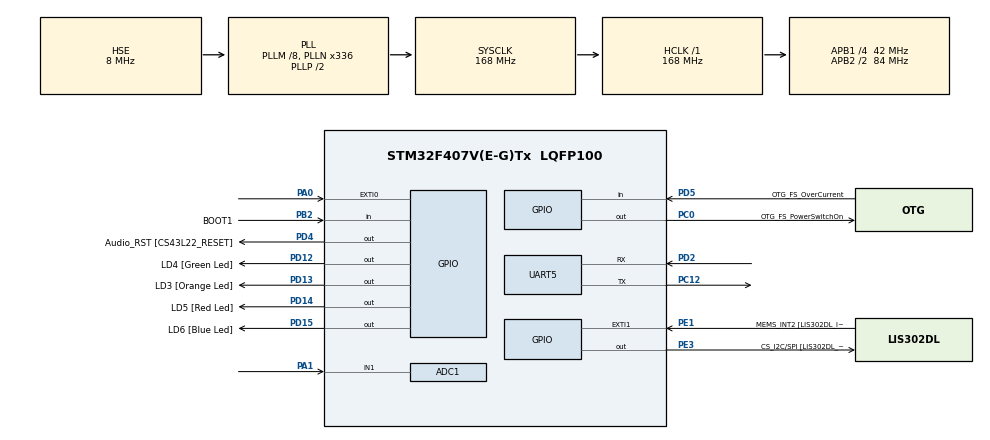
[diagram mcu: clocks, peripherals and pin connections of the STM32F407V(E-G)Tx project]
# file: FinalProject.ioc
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ADC1.Channel-0\#ChannelRegularConversion=ADC_CHANNEL_1
ADC1.ExternalTrigConv=ADC_EXTERNALTRIGCONV_T3_TRGO
ADC1.NbrOfConversionFlag=1
ADC1.Rank-0\#ChannelRegularConversion=1
ADC1.Resolution=ADC_RESOLUTION_8B
ADC1.SamplingTime-0\#ChannelRegularConversion=ADC_SAMPLETIME_3CYCLES
ADC1.master=1
Mcu.Family=STM32F4
Mcu.Name=STM32F407V(E-G)Tx
Mcu.Package=LQFP100
NVIC.ADC_IRQn=true\:0\:0\:false\:false\:true\:true
NVIC.EXTI0_IRQn=true\:0\:0\:false\:false\:true\:true
NVIC.PriorityGroup=NVIC_PRIORITYGROUP_0
NVIC.TIM2_IRQn=true\:0\:0\:false\:false\:true\:true
NVIC.UART5_IRQn=true\:0\:0\:false\:false\:true\:true
PA0-WKUP.Signal=GPXTI0
PA1.Signal=ADCx_IN1
PA10.GPIO_Label=OTG_FS_ID
PA10.GPIO_Mode=GPIO_MODE_AF_PP
PA10.GPIO_PuPd=GPIO_NOPULL
PA10.GPIO_Speed=GPIO_SPEED_FREQ_LOW
PA10.Signal=USB_OTG_FS_ID
PA11.GPIO_Label=OTG_FS_DM
PA11.GPIO_Mode=GPIO_MODE_AF_PP
PA11.GPIO_PuPd=GPIO_NOPULL
PA11.GPIO_Speed=GPIO_SPEED_FREQ_LOW
PA11.Signal=USB_OTG_FS_DM
PA12.GPIO_Label=OTG_FS_DP
PA12.GPIO_Mode=GPIO_MODE_AF_PP
PA12.GPIO_PuPd=GPIO_NOPULL
PA12.GPIO_Speed=GPIO_SPEED_FREQ_LOW
PA12.Signal=USB_OTG_FS_DP
PA13.GPIO_Label=SWDIO
PA13.Mode=Serial_Wire
PA13.Signal=SYS_JTMS-SWDIO
PA14.GPIO_Label=SWCLK
PA14.Mode=Serial_Wire
PA14.Signal=SYS_JTCK-SWCLK
PA4.GPIO_Label=I2S3_WS [CS43L22_LRCK]
PA4.GPIO_Mode=GPIO_MODE_AF_PP
PA4.GPIO_PuPd=GPIO_NOPULL
PA4.GPIO_Speed=GPIO_SPEED_FREQ_LOW
PA4.Signal=I2S3_WS
PA5.GPIO_Label=SPI1_SCK [LIS302DL_SCL/SPC]
PA5.GPIO_Mode=GPIO_MODE_AF_PP
PA5.GPIO_PuPd=GPIO_NOPULL
PA5.GPIO_Speed=GPIO_SPEED_FREQ_LOW
PA5.Signal=SPI1_SCK
PA6.GPIO_Label=SPI1_MISO [LIS302DL_SDO]
PA6.GPIO_Mode=GPIO_MODE_AF_PP
PA6.GPIO_PuPd=GPIO_NOPULL
PA6.GPIO_Speed=GPIO_SPEED_FREQ_LOW
PA6.Signal=SPI1_MISO
PA7.GPIO_Label=SPI1_MOSI [LIS302DL_SDA/SDI/SDO]
PA7.GPIO_Mode=GPIO_MODE_AF_PP
PA7.GPIO_PuPd=GPIO_NOPULL
PA7.GPIO_Speed=GPIO_SPEED_FREQ_LOW
PA7.Signal=SPI1_MOSI
PA9.GPIO_Label=VBUS_FS
PA9.GPIO_Mode=GPIO_MODE_INPUT
PA9.GPIO_PuPd=GPIO_NOPULL
PA9.Signal=USB_OTG_FS_VBUS
PB10.GPIO_Label=CLK_IN [MP45DT02_CLK]
PB10.GPIO_Mode=GPIO_MODE_AF_PP
PB10.GPIO_PuPd=GPIO_NOPULL
PB10.GPIO_Speed=GPIO_SPEED_FREQ_LOW
PB10.Signal=I2S2_CK
PB2.GPIO_Label=BOOT1
PB2.GPIO_Mode=GPIO_MODE_INPUT
PB2.GPIO_PuPd=GPIO_NOPULL
PB2.Signal=GPIO_Input
PB3.GPIO_Label=SWO
PB3.Signal=SYS_JTDO-SWO
PB6.GPIO_Label=Audio_SCL [CS43L22_SCL]
PB6.GPIO_Mode=GPIO_MODE_AF_OD
PB6.GPIO_PuPd=GPIO_NOPULL
PB6.GPIO_Speed=GPIO_SPEED_FREQ_LOW
PB6.Signal=I2C1_SCL
PB9.GPIO_Label=Audio_SDA [CS43L22_SDA]
PB9.GPIO_Mode=GPIO_MODE_AF_OD
PB9.GPIO_PuPd=GPIO_NOPULL
PB9.GPIO_Speed=GPIO_SPEED_FREQ_LOW
PB9.Signal=I2C1_SDA
PC0.GPIO_Label=OTG_FS_PowerSwitchOn
PC0.GPIO_PuPd=GPIO_NOPULL
PC0.GPIO_Speed=GPIO_SPEED_FREQ_LOW
PC0.PinState=GPIO_PIN_SET
PC0.Signal=GPIO_Output
PC10.GPIO_Label=I2S3_SCK [CS43L22_SCLK]
PC10.GPIO_Mode=GPIO_MODE_AF_PP
PC10.GPIO_PuPd=GPIO_NOPULL
PC10.GPIO_Speed=GPIO_SPEED_FREQ_LOW
PC10.Signal=I2S3_CK
PC12.Mode=Asynchronous
PC12.Signal=UART5_TX
PC14-OSC32_IN.GPIO_Label=PC14-OSC32_IN
PC14-OSC32_IN.Mode=LSE-External-Oscillator
PC14-OSC32_IN.Signal=RCC_OSC32_IN
PC15-OSC32_OUT.GPIO_Label=PC15-OSC32_OUT
PC15-OSC32_OUT.Mode=LSE-External-Oscillator
PC15-OSC32_OUT.Signal=RCC_OSC32_OUT
PC3.GPIO_Label=PDM_OUT [MP45DT02_DOUT]
PC3.GPIO_Mode=GPIO_MODE_AF_PP
PC3.GPIO_PuPd=GPIO_NOPULL
PC3.GPIO_Speed=GPIO_SPEED_FREQ_LOW
PC3.Signal=I2S2_SD
PC7.GPIO_Label=I2S3_MCK [CS43L22_MCLK]
PC7.GPIO_Mode=GPIO_MODE_AF_PP
PC7.GPIO_PuPd=GPIO_NOPULL
PC7.GPIO_Speed=GPIO_SPEED_FREQ_LOW
PC7.Signal=I2S3_MCK
PD12.GPIO_Label=LD4 [Green Led]
PD12.GPIO_PuPd=GPIO_NOPULL
PD12.GPIO_Speed=GPIO_SPEED_FREQ_LOW
PD12.Signal=GPIO_Output
PD13.GPIO_Label=LD3 [Orange Led]
PD13.GPIO_PuPd=GPIO_NOPULL
PD13.GPIO_Speed=GPIO_SPEED_FREQ_LOW
PD13.Signal=GPIO_Output
PD14.GPIO_Label=LD5 [Red Led]
PD14.GPIO_PuPd=GPIO_NOPULL
PD14.GPIO_Speed=GPIO_SPEED_FREQ_LOW
PD14.Signal=GPIO_Output
PD15.GPIO_Label=LD6 [Blue Led]
PD15.GPIO_PuPd=GPIO_NOPULL
PD15.GPIO_Speed=GPIO_SPEED_FREQ_LOW
PD15.Signal=GPIO_Output
PD2.Mode=Asynchronous
PD2.Signal=UART5_RX
PD4.GPIO_Label=Audio_RST [CS43L22_RESET]
PD4.GPIO_PuPd=GPIO_NOPULL
PD4.GPIO_Speed=GPIO_SPEED_FREQ_LOW
PD4.Signal=GPIO_Output
PD5.GPIO_Label=OTG_FS_OverCurrent
PD5.GPIO_Mode=GPIO_MODE_INPUT
PD5.GPIO_PuPd=GPIO_NOPULL
PD5.Signal=GPIO_Input
PE1.GPIO_Label=MEMS_INT2 [LIS302DL_INT2]
PE1.GPIO_ModeDefaultEXTI=GPIO_MODE_EVT_RISING
PE1.GPIO_PuPd=GPIO_NOPULL
PE1.Signal=GPXTI1
PE3.GPIO_Label=CS_I2C/SPI [LIS302DL_CS_I2C/SPI]
PE3.GPIO_PuPd=GPIO_NOPULL
PE3.GPIO_Speed=GPIO_SPEED_FREQ_LOW
PE3.Signal=GPIO_Output
PH0-OSC_IN.GPIO_Label=PH0-OSC_IN
PH0-OSC_IN.Mode=HSE-External-Oscillator
PH0-OSC_IN.Signal=RCC_OSC_IN
PH1-OSC_OUT.GPIO_Label=PH1-OSC_OUT
PH1-OSC_OUT.Mode=HSE-External-Oscillator
PH1-OSC_OUT.Signal=RCC_OSC_OUT
ProjectManager.HeapSize=0x200
ProjectManager.StackSize=0x400
ProjectManager.TargetToolchain=MDK-ARM V5
RCC.48MHZClocksFreq_Value=48000000
RCC.AHBFreq_Value=168000000
RCC.APB1CLKDivider=RCC_HCLK_DIV4
RCC.APB1Freq_Value=42000000
RCC.APB1TimFreq_Value=84000000
RCC.APB2CLKDivider=RCC_HCLK_DIV2
RCC.APB2Freq_Value=84000000
RCC.APB2TimFreq_Value=168000000
RCC.CortexFreq_Value=168000000
RCC.HCLKFreq_Value=168000000
RCC.HSE_VALUE=8000000
RCC.HSI_VALUE=16000000
RCC.PLLM=8
RCC.PLLN=336
RCC.PLLQ=7
RCC.PLLSourceVirtual=RCC_PLLSOURCE_HSE
RCC.SYSCLKFreq_VALUE=168000000
RCC.SYSCLKSource=RCC_SYSCLKSOURCE_PLLCLK
RCC.VCOOutputFreq_Value=336000000
SH.ADCx_IN1.0=ADC1_IN1,IN1
TIM2.Period=8499
TIM2.Prescaler=10
TIM2.TIM_MasterOutputTrigger=TIM_TRGO_UPDATE
TIM3.Period=10499
TIM3.TIM_MasterOutputTrigger=TIM_TRGO_UPDATE
UART5.VirtualMode=Asynchronous
VP_TIM2_VS_ClockSourceINT.Mode=Internal
VP_TIM3_VS_ClockSourceINT.Mode=Internal
board=STM32F4DISCOVERY

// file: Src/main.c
/**
  ******************************************************************************
  * @file           : main.c
  * @brief          : Main program body
  ******************************************************************************
  ** This notice applies to any and all portions of this file
  * that are not between comment pairs USER CODE BEGIN and
  * USER CODE END. Other portions of this file, whether
  * inserted by the user or by software development tools
  * are owned by their respective copyright owners.
  *
  * COPYRIGHT(c) 2018 STMicroelectronics
  *
  * Redistribution and use in source and binary forms, with or without modification,
  * are permitted provided that the following conditions are met:
  *   1. Redistributions of source code must retain the above copyright notice,
  *      this list of conditions and the following disclaimer.
  *   2. Redistributions in binary form must reproduce the above copyright notice,
  *      this list of conditions and the following disclaimer in the documentation
  *      and/or other materials provided with the distribution.
  *   3. Neither the name of STMicroelectronics nor the names of its contributors
  *      may be used to endorse or promote products derived from this software
  *      without specific prior written permission.
  *
  * THIS SOFTWARE IS PROVIDED BY THE COPYRIGHT HOLDERS AND CONTRIBUTORS "AS IS"
  * AND ANY EXPRESS OR IMPLIED WARRANTIES, INCLUDING, BUT NOT LIMITED TO, THE
  * IMPLIED WARRANTIES OF MERCHANTABILITY AND FITNESS FOR A PARTICULAR PURPOSE ARE
  * DISCLAIMED. IN NO EVENT SHALL THE COPYRIGHT HOLDER OR CONTRIBUTORS BE LIABLE
  * FOR ANY DIRECT, INDIRECT, INCIDENTAL, SPECIAL, EXEMPLARY, OR CONSEQUENTIAL
  * DAMAGES (INCLUDING, BUT NOT LIMITED TO, PROCUREMENT OF SUBSTITUTE GOODS OR
  * SERVICES; LOSS OF USE, DATA, OR PROFITS; OR BUSINESS INTERRUPTION) HOWEVER
  * CAUSED AND ON ANY THEORY OF LIABILITY, WHETHER IN CONTRACT, STRICT LIABILITY,
  * OR TORT (INCLUDING NEGLIGENCE OR OTHERWISE) ARISING IN ANY WAY OUT OF THE USE
  * OF THIS SOFTWARE, EVEN IF ADVISED OF THE POSSIBILITY OF SUCH DAMAGE.
  *
  ******************************************************************************
  */
#include "main.h"
#include "stm32f4xx_hal.h"

/* USER CODE BEGIN Includes */
#include "lis3dsh.h"
#include "math.h"

/* USER CODE END Includes */

ADC_HandleTypeDef hadc1;

TIM_HandleTypeDef htim2;
TIM_HandleTypeDef htim3;

UART_HandleTypeDef huart5;

/* USER CODE BEGIN PV */
/* Private variables ---------------------------------------------------------*/
LIS3DSH_InitTypeDef 		Acc_instance;
uint8_t status;
float Buffer[3];
float accX, accY, accZ;
uint8_t MyFlag = 0;

uint32_t adcConversion = 0;
int x[5] = {0};
float filterOutput;

int state = 0;
volatile int tapTimerDetect = 0;
volatile int tapTimerValidate = 0;
volatile int accelerometerTimer = 0;

int numberOfTaps = 0;
float initialData[3];
float previousData[3];
float newData[3];
float zDifference1, zDifference2;

const int accelerometerDataBufferSize = 1000;
uint8_t pitchDataBuffer[accelerometerDataBufferSize];
uint8_t rollDataBuffer[accelerometerDataBufferSize];

float pitch, roll;
int dataCollectionComplete = 0;
int recording = 0;
int recordingComplete = 0;
uint32_t tapDetectSnapshot;

const int audioDataBufferSize = 10000;
uint8_t audioDataBuffer[audioDataBufferSize];
/* USER CODE END PV */

void SystemClock_Config(void);
static void MX_GPIO_Init(void);
static void MX_ADC1_Init(void);
static void MX_TIM3_Init(void);
static void MX_UART5_Init(void);
static void MX_TIM2_Init(void);

/* USER CODE BEGIN PFP */
/* Private function prototypes -----------------------------------------------*/
void initializeACC			(void);

void FIR_C(uint32_t input, float* filterOutput);
float pitchCalculation(float* accelerometerData);
float rollCalculation(float* accelerometerData);
int tapDetection(float* newData, float* previousData);

/* USER CODE END PFP */

int main(void)
{

  /* MCU Configuration----------------------------------------------------------*/

  /* Reset of all peripherals, Initializes the Flash interface and the Systick. */
  HAL_Init();

  /* Configure the system clock */
  SystemClock_Config();

  /* Initialize all configured peripherals */
  MX_GPIO_Init();
  MX_ADC1_Init();
  MX_TIM3_Init();
  MX_UART5_Init();
  MX_TIM2_Init();
  /* USER CODE BEGIN 2 */
	initializeACC	();	// Like any other peripheral, you need to initialize it. Refer to the its driver to learn more.
	uint8_t header1[] = {0x0F};
	uint8_t header2[] = {0xF0};
	HAL_TIM_Base_Start(&htim3);
	HAL_TIM_Base_Start(&htim2);
	LIS3DSH_ReadACC(previousData);	//initial reading upon entry of program
  /* USER CODE END 2 */

  /* Infinite loop */
  /* USER CODE BEGIN WHILE */
  while (1){

		switch(state) {
				case 0:
					printf("in state 0\n");

						LIS3DSH_Read(&status, LIS3DSH_STATUS, 1);

						if ((status & 0x01) != 0x00)		//check to see if z-data has changed
						{
							LIS3DSH_ReadACC(newData);		//read new data

							if(tapDetection(newData, previousData)){ //going above first threshold

								tapDetectSnapshot = HAL_GetTick();
								*previousData = *newData;
								LIS3DSH_ReadACC(newData);

								if(tapDetection(newData, previousData)){	//going below second threshold

									if(HAL_GetTick() - tapDetectSnapshot > TAPTIME){
										numberOfTaps++;
										*previousData = *newData;
									}

								}
							}
						}

					if(tapTimerValidate >= TAP_VALIDATE_THRESH) {
						tapTimerValidate = 0;
						if(numberOfTaps >= 2) {
							printf("2 taps detected\n");
							state = 2;
							numberOfTaps = 0;
						}else if(numberOfTaps ==1) {
							printf("1 tap detected\n");
							state = 1;
							numberOfTaps = 0;
						}
					}

				case 1:
					printf("in state 1\n");
					HAL_ADC_Start_IT(&hadc1);
					recording = 1;
					//turn on green LED to indicate recording
					HAL_GPIO_WritePin(GPIOD, GPIO_PIN_12 ,GPIO_PIN_SET);
					HAL_GPIO_WritePin(GPIOD, GPIO_PIN_13 ,GPIO_PIN_RESET);
					HAL_GPIO_WritePin(GPIOD, GPIO_PIN_14 ,GPIO_PIN_RESET);
					HAL_GPIO_WritePin(GPIOD, GPIO_PIN_15 ,GPIO_PIN_RESET);

					if(recordingComplete) {
						recording = 0;

						//turn on red LED for transmission
						HAL_GPIO_WritePin(GPIOD, GPIO_PIN_13 ,GPIO_PIN_RESET);
						HAL_GPIO_WritePin(GPIOD, GPIO_PIN_14 ,GPIO_PIN_SET);

						HAL_UART_Transmit(&huart5,header1,sizeof(header1),1000);
						HAL_UART_Transmit(&huart5,audioDataBuffer,audioDataBufferSize,1000);

						recordingComplete = 0;
						state = 0;
					}

					if(HAL_GPIO_ReadPin(GPIOA, GPIO_PIN_0 ) == SET) {
						state = 0;
					}

				case 2:
					printf("in state 2\n");
					//turn on orange LED to indicate accelerometer data
					HAL_GPIO_WritePin(GPIOD, GPIO_PIN_12 ,GPIO_PIN_RESET);
					HAL_GPIO_WritePin(GPIOD, GPIO_PIN_13 ,GPIO_PIN_SET);
					HAL_GPIO_WritePin(GPIOD, GPIO_PIN_14 ,GPIO_PIN_RESET);
					HAL_GPIO_WritePin(GPIOD, GPIO_PIN_15 ,GPIO_PIN_RESET);

					for(int i = 0; i < accelerometerDataBufferSize;) {
						LIS3DSH_Read (&status, LIS3DSH_STATUS, 1);
						//The first four bits denote if we have new data on all XYZ axes,
						//Z axis only, Y axis only or Z axis only. If any or all changed, proceed
						if ((status & 0x0F) != 0x00)
						{
							// read ACC
							LIS3DSH_ReadACC(newData);

							pitch = pitchCalculation(newData);
							roll = rollCalculation(newData);
							// save to buffer
							uint8_t anglePitch = (uint8_t)(pitch+90); // maybe take out 90
							uint8_t angleRoll = (uint8_t)(roll+90);
							pitchDataBuffer[i] = anglePitch;
							rollDataBuffer[i] = angleRoll;
							//printf("pitch: %f, roll: %f \n", pitch, roll);
							//printf("pitch: %d, roll: %d \n", anglePitch, angleRoll);
							i++;
							if(i == accelerometerDataBufferSize-1) {
								dataCollectionComplete = 1;
							}
						}
					}

					if(dataCollectionComplete) {
						//turn on red LED for transmission
						printf("transmitting data\n");
						HAL_GPIO_WritePin(GPIOD, GPIO_PIN_13 ,GPIO_PIN_RESET);
						HAL_GPIO_WritePin(GPIOD, GPIO_PIN_14 ,GPIO_PIN_SET);

						HAL_UART_Transmit(&huart5,header1,sizeof(header1),1000);
						HAL_UART_Transmit(&huart5,pitchDataBuffer,accelerometerDataBufferSize,1000);

						HAL_UART_Transmit(&huart5,header2,sizeof(header2),1000);
						HAL_UART_Transmit(&huart5,rollDataBuffer,accelerometerDataBufferSize,1000);

						dataCollectionComplete = 0;
						state = 0;
					}
					if(HAL_GPIO_ReadPin(GPIOA, GPIO_PIN_0 ) == SET) {
						state = 0;
					}
			}

  /* USER CODE END WHILE */

		}

}

void SystemClock_Config(void)
{

  RCC_OscInitTypeDef RCC_OscInitStruct;
  RCC_ClkInitTypeDef RCC_ClkInitStruct;

    /**Configure the main internal regulator output voltage
    */
  __HAL_RCC_PWR_CLK_ENABLE();

  __HAL_PWR_VOLTAGESCALING_CONFIG(PWR_REGULATOR_VOLTAGE_SCALE1);

    /**Initializes the CPU, AHB and APB busses clocks
    */
  RCC_OscInitStruct.OscillatorType = RCC_OSCILLATORTYPE_HSE;
  RCC_OscInitStruct.HSEState = RCC_HSE_ON;
  RCC_OscInitStruct.PLL.PLLState = RCC_PLL_ON;
  RCC_OscInitStruct.PLL.PLLSource = RCC_PLLSOURCE_HSE;
  RCC_OscInitStruct.PLL.PLLM = 8;
  RCC_OscInitStruct.PLL.PLLN = 336;
  RCC_OscInitStruct.PLL.PLLP = RCC_PLLP_DIV2;
  RCC_OscInitStruct.PLL.PLLQ = 7;
  if (HAL_RCC_OscConfig(&RCC_OscInitStruct) != HAL_OK)
  {
    _Error_Handler(__FILE__, __LINE__);
  }

    /**Initializes the CPU, AHB and APB busses clocks
    */
  RCC_ClkInitStruct.ClockType = RCC_CLOCKTYPE_HCLK|RCC_CLOCKTYPE_SYSCLK
                              |RCC_CLOCKTYPE_PCLK1|RCC_CLOCKTYPE_PCLK2;
  RCC_ClkInitStruct.SYSCLKSource = RCC_SYSCLKSOURCE_PLLCLK;
  RCC_ClkInitStruct.AHBCLKDivider = RCC_SYSCLK_DIV1;
  RCC_ClkInitStruct.APB1CLKDivider = RCC_HCLK_DIV4;
  RCC_ClkInitStruct.APB2CLKDivider = RCC_HCLK_DIV2;

  if (HAL_RCC_ClockConfig(&RCC_ClkInitStruct, FLASH_LATENCY_5) != HAL_OK)
  {
    _Error_Handler(__FILE__, __LINE__);
  }

    /**Configure the Systick interrupt time
    */
  HAL_SYSTICK_Config(HAL_RCC_GetHCLKFreq()/1000);

    /**Configure the Systick
    */
  HAL_SYSTICK_CLKSourceConfig(SYSTICK_CLKSOURCE_HCLK);

  /* SysTick_IRQn interrupt configuration */
  HAL_NVIC_SetPriority(SysTick_IRQn, 1, 1);
}

/* ADC1 init function */
static void MX_ADC1_Init(void)
{

  ADC_ChannelConfTypeDef sConfig;

    /**Configure the global features of the ADC (Clock, Resolution, Data Alignment and number of conversion)
    */
  hadc1.Instance = ADC1;
  hadc1.Init.ClockPrescaler = ADC_CLOCK_SYNC_PCLK_DIV4;
  hadc1.Init.Resolution = ADC_RESOLUTION_8B;
  hadc1.Init.ScanConvMode = DISABLE;
  hadc1.Init.ContinuousConvMode = DISABLE;
  hadc1.Init.DiscontinuousConvMode = DISABLE;
  hadc1.Init.ExternalTrigConvEdge = ADC_EXTERNALTRIGCONVEDGE_RISING;
  hadc1.Init.ExternalTrigConv = ADC_EXTERNALTRIGCONV_T3_TRGO;
  hadc1.Init.DataAlign = ADC_DATAALIGN_RIGHT;
  hadc1.Init.NbrOfConversion = 1;
  hadc1.Init.DMAContinuousRequests = DISABLE;
  hadc1.Init.EOCSelection = ADC_EOC_SINGLE_CONV;
  if (HAL_ADC_Init(&hadc1) != HAL_OK)
  {
    _Error_Handler(__FILE__, __LINE__);
  }

    /**Configure for the selected ADC regular channel its corresponding rank in the sequencer and its sample time.
    */
  sConfig.Channel = ADC_CHANNEL_1;
  sConfig.Rank = 1;
  sConfig.SamplingTime = ADC_SAMPLETIME_3CYCLES;
  if (HAL_ADC_ConfigChannel(&hadc1, &sConfig) != HAL_OK)
  {
    _Error_Handler(__FILE__, __LINE__);
  }
}

/* TIM2 init function */
static void MX_TIM2_Init(void)
{
	HAL_NVIC_SetPriority(TIM2_IRQn, 0, 0);
  HAL_NVIC_EnableIRQ(TIM2_IRQn);

  TIM_ClockConfigTypeDef sClockSourceConfig;
  TIM_MasterConfigTypeDef sMasterConfig;

  htim2.Instance = TIM2;
  htim2.Init.Prescaler = 10;
  htim2.Init.CounterMode = TIM_COUNTERMODE_UP;
  htim2.Init.Period = 8499;
  htim2.Init.ClockDivision = TIM_CLOCKDIVISION_DIV1;
  if (HAL_TIM_Base_Init(&htim2) != HAL_OK)
  {
    _Error_Handler(__FILE__, __LINE__);
  }

  sClockSourceConfig.ClockSource = TIM_CLOCKSOURCE_INTERNAL;
  if (HAL_TIM_ConfigClockSource(&htim2, &sClockSourceConfig) != HAL_OK)
  {
    _Error_Handler(__FILE__, __LINE__);
  }

  sMasterConfig.MasterOutputTrigger = TIM_TRGO_UPDATE;
  sMasterConfig.MasterSlaveMode = TIM_MASTERSLAVEMODE_DISABLE;
  if (HAL_TIMEx_MasterConfigSynchronization(&htim2, &sMasterConfig) != HAL_OK)
  {
    _Error_Handler(__FILE__, __LINE__);
  }

	HAL_
}

/* TIM3 init function */
static void MX_TIM3_Init(void)
{

  TIM_ClockConfigTypeDef sClockSourceConfig;
  TIM_MasterConfigTypeDef sMasterConfig;

  htim3.Instance = TIM3;
  htim3.Init.Prescaler = 0;
  htim3.Init.CounterMode = TIM_COUNTERMODE_UP;
  htim3.Init.Period = 10499;
  htim3.Init.ClockDivision = TIM_CLOCKDIVISION_DIV1;
  if (HAL_TIM_Base_Init(&htim3) != HAL_OK)
  {
    _Error_Handler(__FILE__, __LINE__);
  }

  sClockSourceConfig.ClockSource = TIM_CLOCKSOURCE_INTERNAL;
  if (HAL_TIM_ConfigClockSource(&htim3, &sClockSourceConfig) != HAL_OK)
  {
    _Error_Handler(__FILE__, __LINE__);
  }

  sMasterConfig.MasterOutputTrigger = TIM_TRGO_UPDATE;
  sMasterConfig.MasterSlaveMode = TIM_MASTERSLAVEMODE_DISABLE;
  if (HAL_TIMEx_MasterConfigSynchronization(&htim3, &sMasterConfig) != HAL_OK)
  {
    _Error_Handler(__FILE__, __LINE__);
  }

}

/* UART5 init function */
static void MX_UART5_Init(void)
{

  huart5.Instance = UART5;
  huart5.Init.BaudRate = 115200;
  huart5.Init.WordLength = UART_WORDLENGTH_8B;
  huart5.Init.StopBits = UART_STOPBITS_1;
  huart5.Init.Parity = UART_PARITY_NONE;
  huart5.Init.Mode = UART_MODE_TX_RX;
  huart5.Init.HwFlowCtl = UART_HWCONTROL_NONE;
  huart5.Init.OverSampling = UART_OVERSAMPLING_16;
  if (HAL_UART_Init(&huart5) != HAL_OK)
  {
    _Error_Handler(__FILE__, __LINE__);
  }

}

/** Configure pins as
        * Analog
        * Input
        * Output
        * EVENT_OUT
        * EXTI
     PC3   ------> I2S2_SD
     PA4   ------> I2S3_WS
     PA5   ------> SPI1_SCK
     PA6   ------> SPI1_MISO
     PA7   ------> SPI1_MOSI
     PB10   ------> I2S2_CK
     PC7   ------> I2S3_MCK
     PA9   ------> USB_OTG_FS_VBUS
     PA10   ------> USB_OTG_FS_ID
     PA11   ------> USB_OTG_FS_DM
     PA12   ------> USB_OTG_FS_DP
     PC10   ------> I2S3_CK
     PB6   ------> I2C1_SCL
     PB9   ------> I2C1_SDA
*/
static void MX_GPIO_Init(void)
{

  GPIO_InitTypeDef GPIO_InitStruct;

  /* GPIO Ports Clock Enable */
  __HAL_RCC_GPIOE_CLK_ENABLE();
  __HAL_RCC_GPIOC_CLK_ENABLE();
  __HAL_RCC_GPIOH_CLK_ENABLE();
  __HAL_RCC_GPIOA_CLK_ENABLE();
  __HAL_RCC_GPIOB_CLK_ENABLE();
  __HAL_RCC_GPIOD_CLK_ENABLE();

  /*Configure GPIO pin Output Level */
  HAL_GPIO_WritePin(CS_I2C_SPI_GPIO_Port, CS_I2C_SPI_Pin, GPIO_PIN_RESET);

  /*Configure GPIO pin Output Level */
  HAL_GPIO_WritePin(OTG_FS_PowerSwitchOn_GPIO_Port, OTG_FS_PowerSwitchOn_Pin, GPIO_PIN_SET);

  /*Configure GPIO pin Output Level */
  HAL_GPIO_WritePin(GPIOD, LD4_Pin|LD3_Pin|LD5_Pin|LD6_Pin
                          |Audio_RST_Pin, GPIO_PIN_RESET);

  /*Configure GPIO pin : CS_I2C_SPI_Pin */
  GPIO_InitStruct.Pin = CS_I2C_SPI_Pin;
  GPIO_InitStruct.Mode = GPIO_MODE_OUTPUT_PP;
  GPIO_InitStruct.Pull = GPIO_NOPULL;
  GPIO_InitStruct.Speed = GPIO_SPEED_FREQ_LOW;
  HAL_GPIO_Init(CS_I2C_SPI_GPIO_Port, &GPIO_InitStruct);

  /*Configure GPIO pin : OTG_FS_PowerSwitchOn_Pin */
  GPIO_InitStruct.Pin = OTG_FS_PowerSwitchOn_Pin;
  GPIO_InitStruct.Mode = GPIO_MODE_OUTPUT_PP;
  GPIO_InitStruct.Pull = GPIO_NOPULL;
  GPIO_InitStruct.Speed = GPIO_SPEED_FREQ_LOW;
  HAL_GPIO_Init(OTG_FS_PowerSwitchOn_GPIO_Port, &GPIO_InitStruct);

  /*Configure GPIO pin : PDM_OUT_Pin */
  GPIO_InitStruct.Pin = PDM_OUT_Pin;
  GPIO_InitStruct.Mode = GPIO_MODE_AF_PP;
  GPIO_InitStruct.Pull = GPIO_NOPULL;
  GPIO_InitStruct.Speed = GPIO_SPEED_FREQ_LOW;
  GPIO_InitStruct.Alternate = GPIO_AF5_SPI2;
  HAL_GPIO_Init(PDM_OUT_GPIO_Port, &GPIO_InitStruct);

  /*Configure GPIO pin : PA0 */
  GPIO_InitStruct.Pin = GPIO_PIN_0;
  GPIO_InitStruct.Mode = GPIO_MODE_IT_RISING;
  GPIO_InitStruct.Pull = GPIO_NOPULL;
  HAL_GPIO_Init(GPIOA, &GPIO_InitStruct);

  /*Configure GPIO pin : I2S3_WS_Pin */
  GPIO_InitStruct.Pin = I2S3_WS_Pin;
  GPIO_InitStruct.Mode = GPIO_MODE_AF_PP;
  GPIO_InitStruct.Pull = GPIO_NOPULL;
  GPIO_InitStruct.Speed = GPIO_SPEED_FREQ_LOW;
  GPIO_InitStruct.Alternate = GPIO_AF6_SPI3;
  HAL_GPIO_Init(I2S3_WS_GPIO_Port, &GPIO_InitStruct);

  /*Configure GPIO pins : SPI1_SCK_Pin SPI1_MISO_Pin SPI1_MOSI_Pin */
  GPIO_InitStruct.Pin = SPI1_SCK_Pin|SPI1_MISO_Pin|SPI1_MOSI_Pin;
  GPIO_InitStruct.Mode = GPIO_MODE_AF_PP;
  GPIO_InitStruct.Pull = GPIO_NOPULL;
  GPIO_InitStruct.Speed = GPIO_SPEED_FREQ_LOW;
  GPIO_InitStruct.Alternate = GPIO_AF5_SPI1;
  HAL_GPIO_Init(GPIOA, &GPIO_InitStruct);

  /*Configure GPIO pin : BOOT1_Pin */
  GPIO_InitStruct.Pin = BOOT1_Pin;
  GPIO_InitStruct.Mode = GPIO_MODE_INPUT;
  GPIO_InitStruct.Pull = GPIO_NOPULL;
  HAL_GPIO_Init(BOOT1_GPIO_Port, &GPIO_InitStruct);

  /*Configure GPIO pin : CLK_IN_Pin */
  GPIO_InitStruct.Pin = CLK_IN_Pin;
  GPIO_InitStruct.Mode = GPIO_MODE_AF_PP;
  GPIO_InitStruct.Pull = GPIO_NOPULL;
  GPIO_InitStruct.Speed = GPIO_SPEED_FREQ_LOW;
  GPIO_InitStruct.Alternate = GPIO_AF5_SPI2;
  HAL_GPIO_Init(CLK_IN_GPIO_Port, &GPIO_InitStruct);

  /*Configure GPIO pins : LD4_Pin LD3_Pin LD5_Pin LD6_Pin
                           Audio_RST_Pin */
  GPIO_InitStruct.Pin = LD4_Pin|LD3_Pin|LD5_Pin|LD6_Pin
                          |Audio_RST_Pin;
  GPIO_InitStruct.Mode = GPIO_MODE_OUTPUT_PP;
  GPIO_InitStruct.Pull = GPIO_NOPULL;
  GPIO_InitStruct.Speed = GPIO_SPEED_FREQ_LOW;
  HAL_GPIO_Init(GPIOD, &GPIO_InitStruct);

  /*Configure GPIO pins : I2S3_MCK_Pin I2S3_SCK_Pin */
  GPIO_InitStruct.Pin = I2S3_MCK_Pin|I2S3_SCK_Pin;
  GPIO_InitStruct.Mode = GPIO_MODE_AF_PP;
  GPIO_InitStruct.Pull = GPIO_NOPULL;
  GPIO_InitStruct.Speed = GPIO_SPEED_FREQ_LOW;
  GPIO_InitStruct.Alternate = GPIO_AF6_SPI3;
  HAL_GPIO_Init(GPIOC, &GPIO_InitStruct);

  /*Configure GPIO pin : VBUS_FS_Pin */
  GPIO_InitStruct.Pin = VBUS_FS_Pin;
  GPIO_InitStruct.Mode = GPIO_MODE_INPUT;
  GPIO_InitStruct.Pull = GPIO_NOPULL;
  HAL_GPIO_Init(VBUS_FS_GPIO_Port, &GPIO_InitStruct);

  /*Configure GPIO pins : OTG_FS_ID_Pin OTG_FS_DM_Pin OTG_FS_DP_Pin */
  GPIO_InitStruct.Pin = OTG_FS_ID_Pin|OTG_FS_DM_Pin|OTG_FS_DP_Pin;
  GPIO_InitStruct.Mode = GPIO_MODE_AF_PP;
  GPIO_InitStruct.Pull = GPIO_NOPULL;
  GPIO_InitStruct.Speed = GPIO_SPEED_FREQ_LOW;
  GPIO_InitStruct.Alternate = GPIO_AF10_OTG_FS;
  HAL_GPIO_Init(GPIOA, &GPIO_InitStruct);

  /*Configure GPIO pin : OTG_FS_OverCurrent_Pin */
  GPIO_InitStruct.Pin = OTG_FS_OverCurrent_Pin;
  GPIO_InitStruct.Mode = GPIO_MODE_INPUT;
  GPIO_InitStruct.Pull = GPIO_NOPULL;
  HAL_GPIO_Init(OTG_FS_OverCurrent_GPIO_Port, &GPIO_InitStruct);

  /*Configure GPIO pins : Audio_SCL_Pin Audio_SDA_Pin */
  GPIO_InitStruct.Pin = Audio_SCL_Pin|Audio_SDA_Pin;
  GPIO_InitStruct.Mode = GPIO_MODE_AF_OD;
  GPIO_InitStruct.Pull = GPIO_PULLUP;
  GPIO_InitStruct.Speed = GPIO_SPEED_FREQ_LOW;
  GPIO_InitStruct.Alternate = GPIO_AF4_I2C1;
  HAL_GPIO_Init(GPIOB, &GPIO_InitStruct);

  /*Configure GPIO pin : MEMS_INT2_Pin */
  GPIO_InitStruct.Pin = MEMS_INT2_Pin;
  GPIO_InitStruct.Mode = GPIO_MODE_EVT_RISING;
  GPIO_InitStruct.Pull = GPIO_NOPULL;
  HAL_GPIO_Init(MEMS_INT2_GPIO_Port, &GPIO_InitStruct);

  /* EXTI interrupt init*/
  HAL_NVIC_SetPriority(EXTI0_IRQn, 0, 0);
  HAL_NVIC_EnableIRQ(EXTI0_IRQn);

}

/* USER CODE BEGIN 4 */

/**
   * @brief Calculate pitch
	 * @param axisValues: x, y, z values of acceleration vector
   * @retval pitch: calculated pitch value in degrees
   */
float pitchCalculation(float* axisValues)
{
	//float pitch;
	/*axisValues[0] = x, axisValues[1] = y, axisValues[2] = z*/
	pitch = atan2(axisValues[0],sqrt(pow(axisValues[1],2)+pow(axisValues[2],2))) * 180/PI;

	return pitch;
}
/**
   * @brief Calculate roll
	 * @param axisValues: x, y, z values of acceleration vector
   * @retval roll: calculated roll value in degrees
   */
float rollCalculation(float* axisValues)
{
	//float roll;
	/*axisValues[0] = x, axisValues[1] = y, axisValues[2] = z*/
	roll = atan2(axisValues[1],sqrt(pow(axisValues[0],2)+pow(axisValues[2],2))) * 180/PI;

	return roll;
}

/**
   * @brief Recognize a tap by checking difference between 3 points
	 * @param Takes in values axisValues, sets a flag if "tap" is found
   * @retval None
   */
int tapDetection(float* newAxis, float* previousAxis)	//new, previous, initial
{
  float zDifference = newAxis[2] - previousAxis[2];

	printf("z: %f\n", zDifference);

	if ((fabs)(zDifference) >= ACCEL_THRESHOLD){
		return 1;
	}
	else
		return 0;
}

void initializeACC(void){

	Acc_instance.Axes_Enable				= LIS3DSH_XYZ_ENABLE;
	Acc_instance.AA_Filter_BW				= LIS3DSH_AA_BW_50;
	Acc_instance.Full_Scale					= LIS3DSH_FULLSCALE_2;
	Acc_instance.Power_Mode_Output_DataRate		= LIS3DSH_DATARATE_100;
	Acc_instance.Self_Test					= LIS3DSH_SELFTEST_NORMAL;
	Acc_instance.Continous_Update   = LIS3DSH_ContinousUpdate_Disabled;

	LIS3DSH_Init(&Acc_instance);

	/* Enabling interrupt conflicts with push button
  ACC_Interrupt_Config.Dataready_Interrupt	= LIS3DSH_DATA_READY_INTERRUPT_ENABLED;
	ACC_Interrupt_Config.Interrupt_signal			= LIS3DSH_ACTIVE_HIGH_INTERRUPT_SIGNAL;
	ACC_Interrupt_Config.Interrupt_type				= LIS3DSH_INTERRUPT_REQUEST_PULSED;

	LIS3DSH_DataReadyInterruptConfig(&ACC_Interrupt_Config);
	*/
}

//void HAL_TIM_PeriodElapsedCallback(TIM_HandleTypeDef *htim)
//{
//  /* Prevent unused argument(s) compilation warning */
//	LIS3DSH_ReadACC(newData);
//	printf("test");
//  /* NOTE : This function Should not be modified, when the callback is needed,
//            the __HAL_TIM_PeriodElapsedCallback could be implemented in the user file
//   */
//}

/**
  * @brief  Retrive ADC conversion value and put through filter and RMS calculation
  * @param  hadc: pointer to ADC handler
  * @retval None
  */
void HAL_ADC_ConvCpltCallback(ADC_HandleTypeDef* hadc){

	if(recording) {
		for(int j = 0; j<audioDataBufferSize;j++) {
			adcConversion = HAL_ADC_GetValue(hadc);

			FIR_C(adcConversion, &filterOutput);

			filterOutput = filterOutput * 3.0 / 255.0; /* 8bit conversion, Vref at 3V */

			audioDataBuffer[j] = (uint8_t) filterOutput;

			if(j==audioDataBufferSize) {
				printf("recording complete\n");
				recordingComplete = 1;
			}
		}
	}
}

/**
  * @brief  Filter inputted value from ADC conversion
	* @param  input: value from ADC conversion
	* @param 	output: pointer to array of outputted filter values
  * @retval None
  */
void FIR_C(uint32_t input, float *output) {

	float coefficients[5] = {0.2,0.2,0.2,0.2,0.2};
	/* moving window */
	for(int i = 0; i < 4; i++){
		x[i] = x[i+1];
	}
	/* set new input to final value in window */
	x[4] = input;
	float returnedOutput = 0;
	/* sum of products of coefficient and input */
	for(int i = 0; i < 5; i++){
		returnedOutput += x[i] * coefficients[4-i];
	}
	*output = returnedOutput;
}

/* USER CODE END 4 */

void _Error_Handler(char *file, int line)
{
  while(1)
  {
  }
}

/************************ (C) COPYRIGHT STMicroelectronics *****END OF FILE****/
